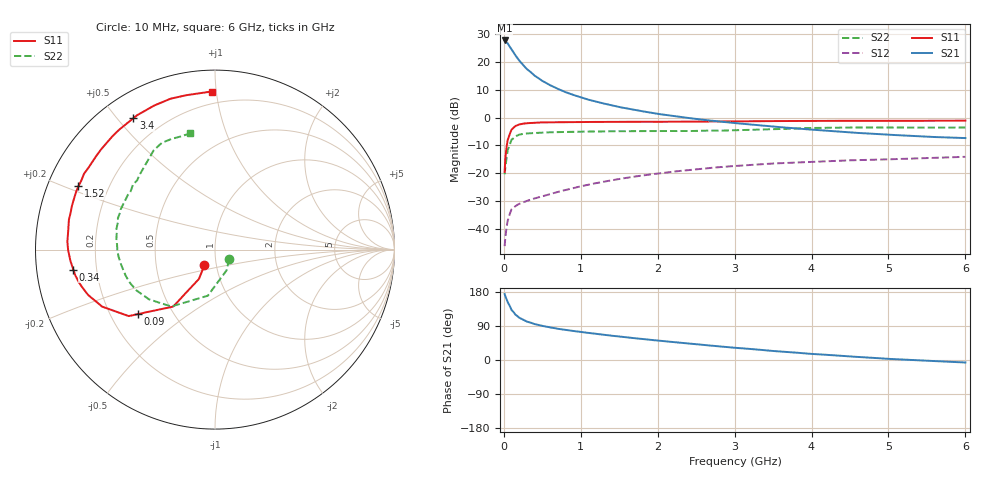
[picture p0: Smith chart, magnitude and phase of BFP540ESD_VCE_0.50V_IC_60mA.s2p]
! Infineon Technologies  Discrete & RF Semiconductors
! BFP540ESD
! VCE = 0.50 V,  IC =  60 mA
! Common Emitter S-Parameters:  Nov 2015
# GHz  S  MA  R  50
!  f  S11  S21  S12  S22
! GHz  MAG  ANG  MAG  ANG  MAG  ANG  MAG  ANG
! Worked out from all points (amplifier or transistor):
!   210 points, 10 MHz to 6 GHz, reference 50 ohm
!   highest |S21| = 27.7 dB at 10 MHz (marker M1)
!   |S21| within 3 dB of that: start of sweep to 95.91 MHz
!   unconditionally stable (mu >= 1): start of sweep to 88.16 MHz; 470.1 MHz to end of sweep
!   at 185 MHz: K = 0.79, MSG = 26.1 dB, |S12| = -31.2 dB
!   at 1.52 GHz: K = 1.31, MAG = 9.5 dB, |S12| = -22.0 dB
!   at 6 GHz: K = 1.35, MAG = -0.2 dB, |S12| = -14.1 dB
!   S11 on the Smith chart (normalised r, x): 10 MHz: 0.88, -0.16; 90 MHz: 0.31, -0.33; 340 MHz: 0.11, -0.07; 1.52 GHz: 0.09, +0.22; 3.4 GHz: 0.10, +0.55; 6 GHz: 0.12, +0.97
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0.01  0.1055 -123.8  24.24 174.1  0.0049 37.5  0.0958 -34.4
0.02  0.1867 -118.7  23.58 168.1  0.0071 50.2  0.1326 -61.0
0.05  0.3938 -126.3  21.49 152.2  0.014 52.7  0.2601 -98.9
0.09  0.5617 -140.2  17.6 136.9  0.0208 45.9  0.3662 -123.6
0.1  0.607 -142.4  16.88 132.1  0.0225 44.9  0.3996 -127.5
0.15  0.7045 -153.2  13.1 119.8  0.0256 40.4  0.46 -142.9
0.2  0.7511 -160.4  10.56 111.6  0.0283 38.5  0.4934 -152.6
0.26  0.78 -166.5  8.464 105.0  0.0304 38.2  0.5116 -160.0
0.3  0.7917 -169.6  7.414 101.3  0.032 38.5  0.5186 -163.9
0.34  0.7972 -172.0  6.701 99.1  0.0333 39.2  0.5221 -166.7
0.4  0.8082 -175.6  5.656 94.7  0.0353 40.2  0.5297 -170.9
0.46  0.8137 -178.2  4.991 92.0  0.0372 41.1  0.5346 -173.9
0.6  0.8239 176.9  3.817 86.1  0.042 43.4  0.544 -179.5
0.8  0.8272 170.7  2.867 79.4  0.05 46.2  0.5521 174.6
1.02  0.8304 165.4  2.263 73.5  0.0591 48.1  0.5568 169.4
1.52  0.8388 155.1  1.527 61.6  0.0797 46.9  0.5679 159.9
2.02  0.8397 145.7  1.155 50.8  0.0993 43.0  0.5702 151.8
3.1  0.8558 126.8  0.774 30.8  0.1377 32.2  0.5958 133.8
3.4  0.8618 121.8  0.708 25.7  0.1465 28.7  0.611 129.4
4.1  0.8713 111.6  0.593 14.9  0.1623 20.7  0.6525 120.6
5.1  0.8746 99.6  0.484 2.0  0.1795 11.2  0.6614 110.7
6  0.881 91.2  0.428 -6.6  0.1972 4.1  0.6623 102.0
